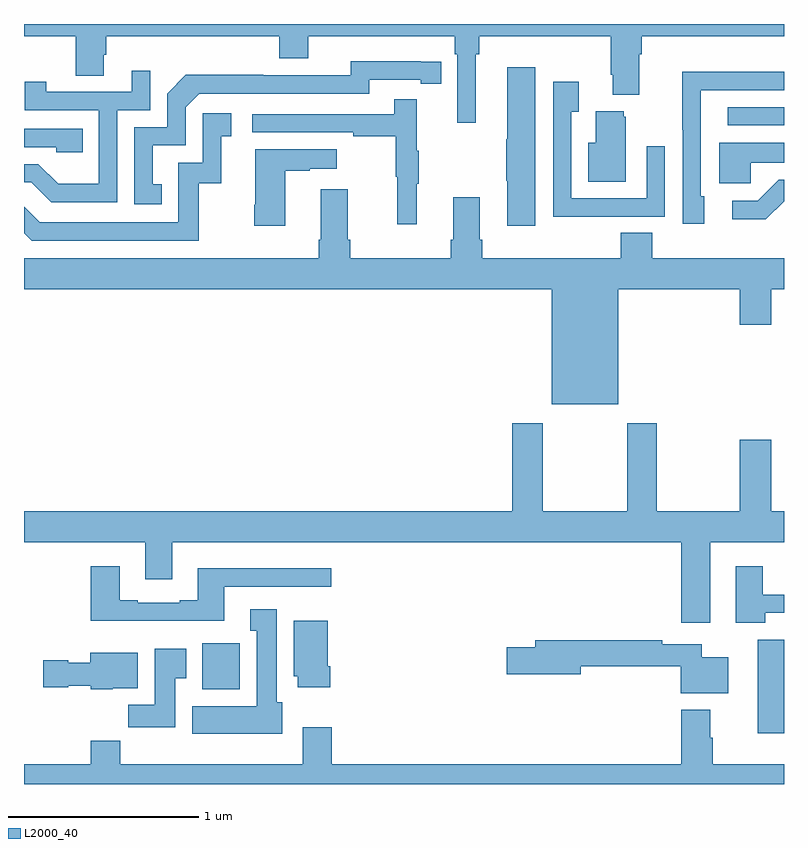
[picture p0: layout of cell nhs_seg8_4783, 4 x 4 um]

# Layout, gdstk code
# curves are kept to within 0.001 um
import gdstk
lib = gdstk.Library(unit=1e-6, precision=1e-09)
def R(c, l, rs):  # rectangles x0, y0, x1, y1
    for r in rs: c.add(gdstk.rectangle(r[:2], r[2:], *l))
def P(c, l, *ps):  # polygons
    for p in ps: c.add(gdstk.Polygon(p, *l))
L2000_40 = (2000, 40)

nhs_seg8_4783 = lib.new_cell('nhs_seg8_4783')
R(nhs_seg8_4783, L2000_40, [(404.861,1110.168,405,1110.658), (401.939,1110.398,402.136,1110.64), (404.703,1113.366,405,1113.462)])
P(nhs_seg8_4783, L2000_40, [(403.378,1113.74),(403.397,1113.74),(403.397,1113.836),(404.087,1113.836),(404.087,1113.634),(404.099,1113.634),(404.099,1113.527),(404.239,1113.527),(404.239,1113.74),(404.252,1113.74),(404.252,1113.836),(405,1113.836),(405,1113.9),(401,1113.9),(401,1113.836),(401.272,1113.836),(401.272,1113.628),(401.419,1113.628),(401.419,1113.738),(401.432,1113.738),(401.432,1113.836),(402.344,1113.836),(402.344,1113.719),(402.496,1113.719),(402.496,1113.836),(403.268,1113.836),(403.268,1113.74),(403.281,1113.74),(403.281,1113.381),(403.378,1113.381)],
  [(401.726,1113.057),(401.677,1113.057),(401.677,1113.261),(401.85,1113.261),(401.85,1113.462),(401.922,1113.534),(402.816,1113.534),(402.816,1113.606),(403.088,1113.606),(403.088,1113.586),(403.196,1113.586),(403.196,1113.702),(402.72,1113.703),(402.72,1113.63),(402.26,1113.63),(402.26,1113.632),(401.852,1113.632),(401.754,1113.534),(401.754,1113.357),(401.58,1113.357),(401.58,1112.952),(401.726,1112.952)],
  [(403.69,1113.673),(403.544,1113.673),(403.544,1113.293),(403.537,1113.293),(403.537,1113.076),(403.544,1113.076),(403.544,1112.838),(403.69,1112.838)],
  [(401.49,1113.447),(401.664,1113.447),(401.664,1113.655),(401.567,1113.655),(401.567,1113.543),(401.116,1113.543),(401.116,1113.595),(401.005,1113.595),(401.005,1113.447),(401.394,1113.447),(401.394,1113.058),(401.18,1113.058),(401.076,1113.162),(401,1113.162),(401,1113.066),(401.039,1113.066),(401.144,1112.961),(401.49,1112.961)],
  [(404.581,1112.994),(404.562,1112.994),(404.562,1113.316),(404.563,1113.316),(404.563,1113.552),(405,1113.552),(405,1113.648),(404.927,1113.648),(404.927,1113.65),(404.464,1113.65),(404.464,1113.343),(404.466,1113.343),(404.466,1112.85),(404.581,1112.85)],
  [(404.057,1112.886),(404.373,1112.886),(404.373,1113.256),(404.277,1113.256),(404.277,1112.982),(403.881,1112.982),(403.881,1113.439),(403.921,1113.439),(403.921,1113.595),(403.785,1113.595),(403.785,1112.885),(404.057,1112.885)],
  [(403.067,1113.059),(403.078,1113.059),(403.078,1113.233),(403.067,1113.233),(403.067,1113.505),(402.949,1113.505),(402.949,1113.426),(402.201,1113.426),(402.201,1113.33),(402.733,1113.33),(402.733,1113.31),(402.957,1113.31),(402.957,1113.096),(402.964,1113.096),(402.964,1112.847),(403.067,1112.847)],
  [(404.167,1113.411),(404.156,1113.411),(404.156,1113.442),(404.009,1113.442),(404.009,1113.274),(403.97,1113.274),(403.97,1113.071),(404.167,1113.071)],
  [(401.92,1113.063),(402.038,1113.063),(402.038,1113.309),(402.091,1113.309),(402.091,1113.43),(401.94,1113.43),(401.94,1113.171),(401.811,1113.171),(401.811,1112.856),(401.082,1112.856),(401,1112.938),(401,1112.8),(401.04,1112.76),(401.92,1112.76)],
  [(401.309,1113.348),(401,1113.348),(401,1113.252),(401.169,1113.252),(401.169,1113.225),(401.309,1113.225)],
  [(404.826,1113.17),(405,1113.17),(405,1113.274),(404.66,1113.274),(404.66,1113.062),(404.826,1113.062)],
  [(402.376,1113.127),(402.503,1113.127),(402.503,1113.137),(402.646,1113.137),(402.646,1113.241),(402.218,1113.241),(402.218,1112.95),(402.211,1112.95),(402.211,1112.838),(402.376,1112.838)],
  [(405,1112.967),(405,1113.081),(404.972,1113.081),(404.861,1112.97),(404.727,1112.97),(404.727,1112.873),(404.905,1112.873)],
  [(404.128,1112.504),(404.768,1112.504),(404.768,1112.316),(404.932,1112.316),(404.932,1112.504),(405,1112.504),(405,1112.668),(404.306,1112.668),(404.306,1112.801),(404.141,1112.801),(404.141,1112.668),(403.412,1112.668),(403.412,1112.764),(403.399,1112.764),(403.399,1112.989),(403.259,1112.989),(403.259,1112.764),(403.247,1112.764),(403.247,1112.668),(402.716,1112.668),(402.716,1112.764),(402.703,1112.764),(402.703,1113.031),(402.563,1113.031),(402.563,1112.764),(402.551,1112.764),(402.551,1112.668),(401,1112.668),(401,1112.504),(403.778,1112.504),(403.778,1111.898),(404.128,1111.898)],
  [(404.611,1111.172),(405,1111.172),(405,1111.336),(404.932,1111.336),(404.932,1111.711),(404.768,1111.711),(404.768,1111.336),(404.331,1111.336),(404.331,1111.798),(404.176,1111.798),(404.176,1111.336),(403.731,1111.336),(403.731,1111.798),(403.571,1111.798),(403.571,1111.336),(401,1111.336),(401,1111.172),(401.639,1111.172),(401.639,1110.978),(401.779,1110.978),(401.779,1111.172),(404.459,1111.172),(404.459,1110.75),(404.611,1110.75)],
  [(404.9,1110.801),(405,1110.801),(405,1110.897),(404.887,1110.897),(404.887,1111.045),(404.747,1111.045),(404.747,1110.75),(404.9,1110.75)],
  [(402.055,1110.939),(402.616,1110.939),(402.616,1111.036),(401.915,1111.036),(401.915,1110.868),(401.819,1110.868),(401.819,1110.855),(401.599,1110.855),(401.599,1110.868),(401.503,1110.868),(401.503,1111.045),(401.351,1111.045),(401.351,1110.758),(402.055,1110.758)],
  [(402.358,1110.33),(402.331,1110.33),(402.331,1110.82),(402.191,1110.82),(402.191,1110.707),(402.224,1110.707),(402.224,1110.31),(401.885,1110.31),(401.885,1110.164),(402.358,1110.164)],
  [(402.611,1110.52),(402.598,1110.52),(402.598,1110.76),(402.419,1110.76),(402.419,1110.468),(402.44,1110.468),(402.44,1110.408),(402.611,1110.408)],
  [(404.707,1110.568),(404.566,1110.568),(404.566,1110.636),(404.36,1110.636),(404.36,1110.656),(403.691,1110.656),(403.691,1110.62),(403.542,1110.62),(403.542,1110.478),(403.93,1110.478),(403.93,1110.52),(404.456,1110.52),(404.456,1110.377),(404.707,1110.377)],
  [(401.797,1110.457),(401.854,1110.457),(401.854,1110.613),(401.687,1110.613),(401.687,1110.316),(401.548,1110.316),(401.548,1110.198),(401.797,1110.198)],
  [(401.466,1110.404),(401.599,1110.404),(401.599,1110.592),(401.348,1110.592),(401.348,1110.538),(401.232,1110.538),(401.232,1110.551),(401.1,1110.551),(401.1,1110.409),(401.232,1110.409),(401.232,1110.416),(401.352,1110.416),(401.352,1110.398),(401.466,1110.398)],
  [(405,1110.004),(404.624,1110.004),(404.624,1110.143),(404.611,1110.143),(404.611,1110.292),(404.459,1110.292),(404.459,1110.004),(402.62,1110.004),(402.62,1110.199),(402.467,1110.199),(402.467,1110.004),(401.507,1110.004),(401.507,1110.128),(401.351,1110.128),(401.351,1110.004),(401,1110.004),(401,1109.9),(405,1109.9)])

lib.write_gds('nhs_seg8_4783.gds')
